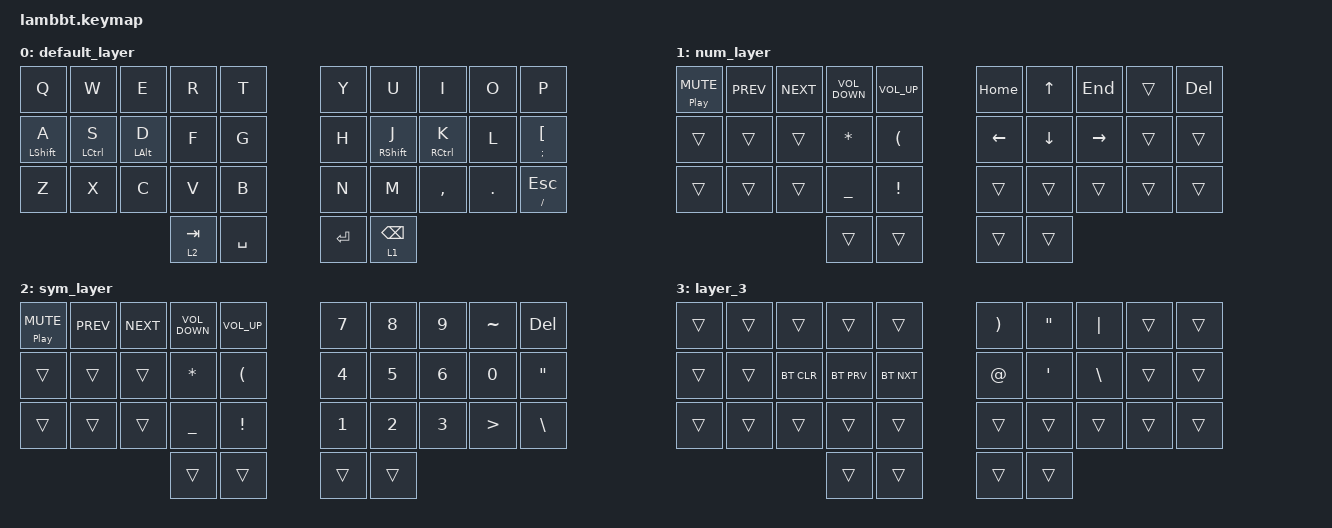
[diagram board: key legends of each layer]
// Copyright (c) 2022 The ZMK Contributors
// SPDX-License-Identifier: MIT

#include <behaviors.dtsi>
#include <dt-bindings/zmk/bt.h>
#include <dt-bindings/zmk/keys.h>

#define NUM 1
#define SYM 2

/ {
    combos {
        #include "combos.dtsi"
    };

    behaviors {
        ht: hold_tap {
            compatible = "zmk,behavior-hold-tap";
            #binding-cells = <2>;
            flavor = "tap-preferred";
            tapping-term-ms = <220>;
            quick-tap-ms = <150>;
            require-prior-idle-ms = <100>;
            bindings = <&kp>, <&kp>;
        };
    };

    keymap {
        compatible = "zmk,keymap";

        default_layer {
            bindings = <
&kp Q             &kp W        &kp E           &kp R      &kp T        &kp Y    &kp U        &kp I                &kp O    &kp P
&ht LEFT_SHIFT A  &ht LCTRL S  &ht LEFT_ALT D  &kp F      &kp G        &kp H    &ht RSHFT J  &ht RIGHT_CONTROL K  &kp L    &ht SEMI LEFT_BRACKET
&kp Z             &kp X        &kp C           &kp V      &kp B        &kp N    &kp M        &kp COMMA            &kp DOT  &ht FSLH ESCAPE
                                               &lt 2 TAB  &kp SPACE    &kp RET  &lt 1 BSPC
            >;
        };

        num_layer {
            bindings = <
&ht C_PP C_MUTE  &kp C_PREV  &kp C_NEXT  &kp C_VOLUME_DOWN  &kp C_VOLUME_UP         &kp HOME        &kp UP          &kp END    &trans  &kp DEL
&trans           &trans      &trans      &kp ASTRK          &kp LEFT_PARENTHESIS    &kp LEFT_ARROW  &kp DOWN_ARROW  &kp RIGHT  &trans  &trans
&trans           &trans      &trans      &kp UNDER          &kp EXCL                &trans          &trans          &trans     &trans  &trans
                                         &trans             &trans                  &trans          &trans
            >;
        };

        sym_layer {
            bindings = <
&ht C_PP C_MUTE  &kp C_PREV  &kp C_NEXT  &kp C_VOLUME_DOWN  &kp C_VOLUME_UP         &kp N7        &kp N8        &kp N9        &kp TILDE  &kp DEL
&trans           &trans      &trans      &kp ASTERISK       &kp LEFT_PARENTHESIS    &kp NUMBER_4  &kp N5        &kp NUMBER_6  &kp N0     &kp DQT
&trans           &trans      &trans      &kp UNDER          &kp EXCL                &kp NUMBER_1  &kp NUMBER_2  &kp NUMBER_3  &kp GT     &kp BSLH
                                         &trans             &trans                  &trans        &trans
            >;
        };

        layer_3 {
            bindings = <
&trans  &trans  &trans      &trans      &trans        &kp RIGHT_PARENTHESIS  &kp DOUBLE_QUOTES  &kp PIPE  &trans  &trans
&trans  &trans  &bt BT_CLR  &bt BT_PRV  &bt BT_NXT    &kp AT                 &kp SINGLE_QUOTE   &kp BSLH  &trans  &trans
&trans  &trans  &trans      &trans      &trans        &trans                 &trans             &trans    &trans  &trans
                            &trans      &trans        &trans                 &trans
            >;
        };
    };

    conditional_layers {
        compatible = "zmk,conditional-layers";

        layer3 {
            if-layers = <1 2>;
            then-layer = <3>;
        };
    };
};
